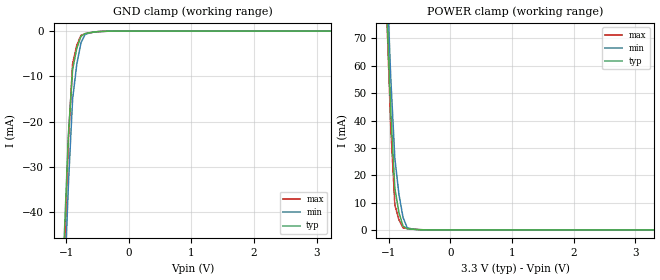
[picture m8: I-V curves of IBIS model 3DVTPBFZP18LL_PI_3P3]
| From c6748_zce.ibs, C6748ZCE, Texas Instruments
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|   Model Cell 3DVTPBFZP18LL_PI_3P3
|IC1833DVTPBFZP18LL_PI_3P3
[Model]   3DVTPBFZP18LL_PI_3P3
Model_type   Input
Polarity   Non-Inverting
Vinl =  0.8V
Vinh =  2V
C_comp   1.012258p   0.8890016p   1.091755p
[Model Spec]
Vinl   0.8V   0.8V   0.8V
Vinh   2V   2V   2V
[Temperature Range]   25   125   -40
[Voltage Range]   3.3   2.97   3.63
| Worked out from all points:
|   GND clamp passes 1 mA (typ) near -0.75 V on its own axis
|   POWER clamp passes 1 mA (typ) near -0.74 V on its own axis
[POWER_clamp]
|   voltage   I(typ)   I(min)   I(max)
-3.3V     2.37A      2.826A     2.542A
-1.033V   82.43mA    94.82mA    80.43mA
-966.7mV  43.62mA    55.93mA    38.27mA
-900mV    15.24mA    26.27mA    9.222mA
-833.3mV  6.342mA    13.01mA    3.689mA
-766.7mV  1.399mA    4.534mA    780.9uA
-700mV    414.7uA    830.8uA    496.6uA
-500mV    93.22uA    61.22uA    108uA
3.3V      -347.5pA   -21.71uA   -26.25pA
[GND_clamp]
|   voltage   I(typ)   I(min)   I(max)
-3.3V     -1.792A    -1.668A    -2.631A
-1.033V   -45.54mA   -57.75mA   -50.28mA
-966.7mV  -22.82mA   -33.83mA   -24.04mA
-900mV    -8.515mA   -15.06mA   -7.265mA
-833.3mV  -3.815mA   -7.367mA   -3.174mA
-766.7mV  -1.156mA   -2.594mA   -954.7uA
-700mV    -537uA     -736.9uA   -606.1uA
-566.7mV  -224.7uA   -222.5uA   -244.9uA
-433.3mV  -72.81uA   -71.22uA   -81.46uA
3.233V    1.162uA    1.668uA    3.191uA
